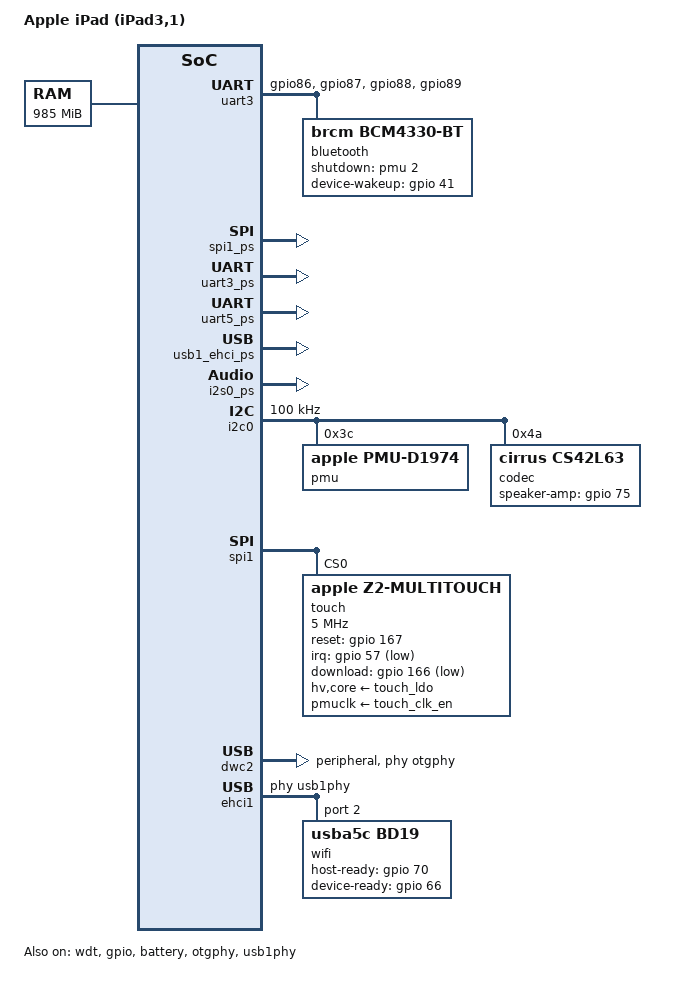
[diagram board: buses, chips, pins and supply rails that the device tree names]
// SPDX-License-Identifier: GPL-2.0 OR MIT
/*
 * Apple iPad (3rd generation) Wi-Fi -- iPad3,1 / J1AP / S5L8945X (Apple A5X).
 *
 * Booted on hardware, RAM only, from a Cascadia-style chain: iBSS and iBEC
 * from the iPad3,1 9.3.5 (13G36) IPSW, a raw-jump loader and Linux 6.12
 * with this repository's drivers.  Addresses come from that IPSW's device
 * tree (src/adt_to_dts.py).  docs/research/j1-a5x.md has the boot chain,
 * what was measured and what is not done.
 *
 * What the A5X shares with the iPad mini's A5, closely enough for the same
 * drivers: arm-io at 0x30000000, AIC at 0x0f200000, UART0 at 0x02500000
 * IRQ 21, DWC2 at usb-complex+0 (0x06100000, IRQ 11, 14 EPs, fifo-depth
 * 0x820), OTG PHY at 0x06000000, PMGR at 0x0f100000, watchdog tick at
 * 0x0f103020 IRQ 4, PL310 at 0x3e000000, GPIO at 0x0fa00000.
 *
 * What it does not: 1 GiB of DRAM; a D1974 PMU in place of the D1946; the
 * pmgr's device-clocks entries are 44 bytes, not 36, so the power-state
 * registers are elsewhere; the panel is eDP behind a highland-park scaler,
 * not MIPI-DSI; Wi-Fi is a BCM4330 on a second USB complex.
 *
 * The 30-pin dock connector carries no UART0; the console is the USB
 * gadget (g_cdc), as on the mini.
 */

/dts-v1/;

/ {
	compatible = "apple,j1ap", "apple,s5l8945x", "apple,s5l8940x", "apple,arm";
	model = "Apple iPad (iPad3,1)";
	#address-cells = <1>;
	#size-cells = <1>;
	interrupt-parent = <&aic>;

	aliases {
		serial0 = &uart0;
		serial3 = &uart3;
	};

	chosen {
		/*
		 * The 30-pin cable does not carry UART0, and earlycon on that
		 * port spins forever if iBoot left the UART clock off, so the
		 * first console is the gadget's ACM port.
		 *
		 * earlycon=j1fb (arch/arm/mach-apple/j1_earlyfb.c) draws the
		 * boot log on iBoot's scanout until fbcon takes over. It is
		 * optional: the J1 used to hang without it, from the missing
		 * tick before the AIC timer (init/main.c, patches/tree/0001).
		 *
		 * console=tty0 also sends the log to fbcon, which takes the
		 * panel over from j1fb when simplefb registers: the penguins and
		 * the log, portrait (fbcon=rotate:1, home button at the bottom;
		 * font:TER16x32 if the kernel has it, else fbcon's default).
		 * ttyGS0 stays last, so it is still /dev/console.
		 *
		 * Both cores start at boot, the mini's way (platsmp.c). lpj is
		 * the 1 GHz A5's; the A5X is 1 GHz too.
		 * rdinit=/init is the initramfs linked into the zImage; an empty
		 * external initrd here would make the kernel look for a second
		 * archive.
		 */
		bootargs = "earlycon=j1fb console=tty0 console=ttyGS0,115200 fbcon=rotate:1,font:TER16x32 lpj=5000000 rdinit=/init panic=10 loglevel=8 ignore_loglevel g_cdc.host_addr=02:10:5a:31:00:01 g_cdc.dev_addr=02:10:5a:31:00:02";
	};

	/*
	 * S5L894x DRAM starts at 0x80000000. iPad3,1 has 1 GiB
	 * (hw.memsize 1034944512, and this iBEC is linked at 0xBFF00000,
	 * 1 MiB under the 0xC0000000 end). The static ADT memory node is
	 * zero. The node ends at 0xbdb00000, where iBoot's scanout starts
	 * (the framebuffer node below): everything from there to the top,
	 * the 12 MiB scanout and iBEC at 0xBFF00000 while it hands off
	 * included, stays out of the kernel's hands.
	 */
	/*
	 * RAM starts 2 MiB in. TEXT_OFFSET is 0x208000 (multi_v7), so the
	 * kernel sits at 0x80208000 and PHYS_OFFSET stays 0x80000000. If the
	 * no-map reset page below were inside this node, it would become
	 * memblock region 0, and prepare_page_table clears every kernel
	 * mapping past the end of region 0, including the running kernel.
	 */
	memory@80200000 {
		device_type = "memory";
		reg = <0x80200000 0x3d900000>;
	};

	/*
	 * iBoot's scanout, as a search of RAM from the loader found it:
	 * base 0xbdb00000, pitch 8192 (2048 x 4), 1536 rows = 12 MiB. It
	 * is iBoot's choice, not the ADT's (whose framebuffer values are
	 * zero), so check it if the boot chain changes. RAM above it stays
	 * out of the memory node so the kernel never hands these pages out.
	 */
	framebuffer@bdb00000 {
		compatible = "simple-framebuffer";
		reg = <0xbdb00000 0xc00000>;
		width = <2048>;
		height = <1536>;
		stride = <8192>;
		format = "x8r8g8b8";
	};

	reserved-memory {
		#address-cells = <1>;
		#size-cells = <1>;
		ranges;

		cpu_reset_page: cpu-reset@80000000 {
			reg = <0x80000000 0x1000>;
			no-map;
		};
	};

	cpus {
		#address-cells = <1>;
		#size-cells = <0>;
		apple,cpu-reset-page = <&cpu_reset_page>;

		/* MPIDR 0x80000900 on CPU0 (the boot log's "mpidr"), so the
		 * cluster id is 9, not the mini's 0xa. With 0xa00 here Linux
		 * found no node for the boot CPU and fell back to one possible
		 * CPU, so CPU1 could not even be onlined. */
		cpu0: cpu@900 {
			device_type = "cpu";
			compatible = "arm,cortex-a9";
			reg = <0x900>;
			enable-method = "apple,pmgr-core";
		};

		cpu1: cpu@901 {
			device_type = "cpu";
			compatible = "arm,cortex-a9";
			reg = <0x901>;
			enable-method = "apple,pmgr-core";
		};
	};

	uart_clk: clock-24000000 {
		compatible = "fixed-clock";
		#clock-cells = <0>;
		clock-frequency = <24000000>;
	};

	soc: soc@30000000 {
		compatible = "simple-bus";
		#address-cells = <1>;
		#size-cells = <1>;
		ranges = <0x0 0x30000000 0x10000000>;

		aic: interrupt-controller@f200000 {
			compatible = "aic,1";
			reg = <0xf200000 0x10000>;
			interrupt-controller;
			#interrupt-cells = <1>;
			#address-cells = <0>;
			apple,main-cpus = <2>;
		};

		uart0: serial@2500000 {
			compatible = "apple,s5l-uart", "samsung,s3c6400-uart";
			reg = <0x2500000 0x1000>;
			interrupts = <21>;
			clocks = <&uart_clk>, <&uart_clk>;
			clock-names = "uart", "clk_uart_baud0";
			status = "disabled";
		};

		/*
		 * UART3: the BCM4330's Bluetooth half (ADT uart3/bluetooth,
		 * "bluetooth,n88", transport-speed 3 Mbaud; the mini's is on
		 * UART1). 24 MHz / 16 makes 1.5 Mbaud the fastest rate here.
		 * From the ADT:
		 *   function-bt_reset  PMU GPIO 2 (0x64 + 2 on the D1974)
		 *   function-bt_wake   SoC GPIO 0x0501 = pin 41
		 * The address is a fixed one in the gadget's family
		 * (02:10:5A:31:00:04, bytes reversed); the patchram's own is a
		 * placeholder.
		 */
		uart3: serial@2800000 {
			compatible = "apple,s5l8940x-uart", "apple,s5l-uart",
				     "samsung,s3c6400-uart";
			reg = <0x2800000 0x1000>;
			interrupts = <24>;
			clocks = <&uart3_ps>, <&uart_clk>;
			clock-names = "uart", "clk_uart_baud0";
			pinctrl-names = "default";
			pinctrl-0 = <&uart3_pins>;
			status = "okay";

			bluetooth {
				compatible = "brcm,bcm4330-bt";
				shutdown-gpios = <&pmu 2 0>;
				device-wakeup-gpios = <&gpio 41 0>;
				max-speed = <1500000>;
				local-bd-address = [04 00 31 5a 10 02];
			};
		};

		wdt: timer@f103020 {
			compatible = "apple,s5l8940x-wdt-timer";
			reg = <0xf103020 0x10>;
			interrupts = <4>;
			clock-frequency = <24000000>;
			status = "okay";
		};

		pmgr: power-management@f100000 {
			compatible = "apple,s5l8940x-pmgr", "syscon";
			reg = <0xf100000 0x7000>;
			status = "disabled";
		};

		/*
		 * ADT /arm-io/gpio is gpio,s5l8945x at
		 * 0xfa00000, irq 119, 28 ports of 8 = 224 pins, the same block
		 * as the mini's.
		 */
		gpio: gpio@fa00000 {
			compatible = "apple,s5l8940x-gpio";
			reg = <0xfa00000 0x1000>;
			interrupts = <119>;
			gpio-controller;
			#gpio-cells = <2>;
			interrupt-controller;
			#interrupt-cells = <2>;
			#address-cells = <0>;
			pin-count = <224>;
			interrupt-groups = <1>;
			status = "okay";

			/* UART3, the Bluetooth chip's: the ADT's uart3 function-tx
			 * and function-rts name 86 and 88, so TX 86, RX 87, RTS 88,
			 * CTS 89 (the mini's UART1 is 40-43 the same way). */
			uart3_pins: uart3-pins {
				pins = "gpio86", "gpio87", "gpio88", "gpio89";
				function = "periph";
			};
		};

		/* SPI1's power-state switch. The pmgr node's device-clocks
		 * entries are 44 bytes on the A5X (36 on the A5); SPI1 (gate
		 * id 68) has power-state index 0x41 at +0x0c, so the register
		 * is PMGR + 0x1000 + 0x41 * 4. The mini's 0x3f1010e8 is another
		 * device here. Measured: 0x200 off, 0x2ff once 0xf is asked. */
		spi1_ps: spi1-ps@f101104 {
			compatible = "apple,s5l8940x-pmgr-clk-gate";
			#clock-cells = <0>;
			reg = <0xf101104 0x4>;
			clocks = <&uart_clk>;
			clock-output-names = "spi1_ps";
		};

		/* UART3's power-state switch (gate 75, index 0x48), for
		 * Bluetooth. */
		uart3_ps: uart3-ps@f101120 {
			compatible = "apple,s5l8940x-pmgr-clk-gate";
			#clock-cells = <0>;
			reg = <0xf101120 0x4>;
			clocks = <&uart_clk>;
			clock-output-names = "uart3_ps";
		};

		/* UART5's power-state switch, for the battery gauge: gate id 77,
		 * power-state index 0x4a. iBoot leaves it off on the J1 (0x200;
		 * the mini's iBoot leaves UART5 running), with ULCON, UCON and
		 * UBRDIV already at the gauge's 8N2 57600. */
		uart5_ps: uart5-ps@f101128 {
			compatible = "apple,s5l8940x-pmgr-clk-gate";
			#clock-cells = <0>;
			reg = <0xf101128 0x4>;
			clocks = <&uart_clk>;
			clock-output-names = "uart5_ps";
		};

		/* The second USB complex's power states (the Wi-Fi's EHCI):
		 * USB1-REG, the PHY's parent, and USB1-EHCI. iBoot leaves both
		 * off (0x200). The PHY driver turns them on in this order. */
		usb1_reg_ps: usb1-reg-ps@f1010b4 {
			compatible = "apple,s5l8940x-pmgr-clk-gate";
			#clock-cells = <0>;
			reg = <0xf1010b4 0x4>;
			clocks = <&uart_clk>;
			clock-output-names = "usb1_reg_ps";
		};

		usb1_ehci_ps: usb1-ehci-ps@f1010a4 {
			compatible = "apple,s5l8940x-pmgr-clk-gate";
			#clock-cells = <0>;
			reg = <0xf1010a4 0x4>;
			clocks = <&uart_clk>;
			clock-output-names = "usb1_ehci_ps";
		};

		/* The audio power states: AUDIO (on as iBoot leaves it) and
		 * its child I2S0 (off, 0x200). The gate driver registers each
		 * clock under its node name, and a child finds its parent by
		 * the parent's clock-output-names: here they must agree, or
		 * I2S0 is an orphan and AUDIO goes off with the unused clocks. */
		audio_ps: audio-ps@f1010b8 {
			compatible = "apple,s5l8940x-pmgr-clk-gate";
			#clock-cells = <0>;
			reg = <0xf1010b8 0x4>;
			clocks = <&uart_clk>;
			clock-output-names = "audio-ps";
		};

		i2s0_ps: i2s0-ps@f1010bc {
			compatible = "apple,s5l8940x-pmgr-clk-gate";
			#clock-cells = <0>;
			reg = <0xf1010bc 0x4>;
			clocks = <&audio_ps>;
			clock-output-names = "i2s0_ps";
		};

		/*
		 * The speaker (sound/soc/apple/s5l-audio.c; docs/research/
		 * j1-a5x.md): I2S0 sends the samples as clock master, 2 x 16
		 * bits; CDMA channel 0x1f, request 1 (the ADT's i2s0
		 * dma-channels) feeds its FIFO at +0x10; NCO 0 (PMGR + 0x130,
		 * 342 MHz reference) is its bit clock; the i2s-switch puts it
		 * and its MCK on pin group 0 (pads 115-118), to the codec.
		 * This node is the codec's MCLK.
		 */
		audio: audio-controller@4190000 {
			compatible = "apple,s5l8945x-audio";
			reg = <0x4190000 0x1000>, <0x41e0000 0x1000>,
			      <0x41a0000 0x1000>, <0xfa01000 0x1000>,
			      <0xf100130 0x60>, <0x7000000 0x2d000>;
			reg-names = "i2s", "mcs", "acs", "switch", "nco", "cdma";
			clocks = <&i2s0_ps>;
			clock-names = "i2s";
			#clock-cells = <0>;
			#sound-dai-cells = <0>;
			apple,dma-channel = <0x1f 0x1>;
			apple,nco-reference-hz = <342000000>;
			apple,audio-codec = <&codec>;
		};

		/* UART5 as the battery gauge's HDQ bus: the ADT's uart5/gas-gauge,
		 * a bq27540 as on the mini. Pin 196 is in peripheral mode as
		 * iBoot leaves it. Read from userspace with UART5 powered: 97%,
		 * 4138 mV, design 11560 mAh. */
		battery: hdq@2a00000 {
			compatible = "apple,s5l8940x-hdq-battery";
			reg = <0x2a00000 0x1000>;
			clocks = <&uart5_ps>;
			status = "okay";
		};

		/* ADT /arm-io/i2c0: i2c,s5l8945x, irq 18, clock-gates 0x50. */
		i2c0: i2c@3200000 {
			compatible = "apple,s5l8940x-i2c";
			reg = <0x3200000 0x1000>;
			clock-frequency = <100000>;
			interrupts = <18>;
			clocks = <&uart_clk>;
			clock-names = "i2c";
			#address-cells = <1>;
			#size-cells = <0>;
			status = "okay";

			/*
			 * ADT pmu,d1974 at 0x3c. It takes an 8-bit register
			 * address like the mini's D1946. apple-pmu-i2c.c knows it
			 * as apple,pmu-d1974 for its GPIOs alone (0x64 + n, the
			 * D1946's are 0x61 + n). No system-power-controller (the
			 * D1946 power-off masks are not checked against this chip).
			 */
			pmu: pmu@3c {
				compatible = "apple,pmu-d1974", "apple,pmu-d1946";
				reg = <0x3c>;
				/* its output GPIOs, 0x64 + n: Bluetooth's reset is 2 */
				gpio-controller;
				#gpio-cells = <2>;
				#address-cells = <1>;
				#size-cells = <0>;

				/* function-power_ldo 0x200: LDO index 0. The
				 * AppleD1974PMU LDO table (0x8118de34) gives enable
				 * register 0x23 bit 0x20; voltage stays iBoot's. */
				touch_ldo: touch_ldo@23 {
					compatible = "apple,pmu-pwrsw";
					reg = <0x23>;
					mask = <0x20>;
					enable = <0x20>;
				};

				/* function-clock_enable: PMU GPIO 0, config register
				 * 0x64. Not a level: with touch running, iOS's
				 * AppleRegisterDump reads 0x51 here (Linux boots with
				 * 0x11), i.e. mode bits 7:5 = 010 -- the PMU's 32 kHz
				 * clock out on the pin. Driving it as a high output
				 * (0x13) let the bootloader run but the firmware never
				 * came up after EXECUTE. */
				touch_clk_en: touch_clk_en@64 {
					compatible = "apple,pmu-pwrsw";
					reg = <0x64>;
					mask = <0x40>;
					enable = <0x40>;
				};

				/* The BCM4330's REG_ON: the ADT's wlan
				 * function-device_reset is PMU GPIO 3, config
				 * register 0x64 + 3. Linux boots with 0x09; bit 1 is
				 * the output level (0x0b with Wi-Fi up). The usb1 PHY
				 * takes it as hsic-supply. */
				wlan_reg_on: wlan_reg_on@67 {
					compatible = "apple,pmu-pwrsw";
					reg = <0x67>;
					mask = <0x02>;
					enable = <0x02>;
				};

				/*
				 * The backlight. The D1974's LED DAC is 11 bits like
				 * the D1946's, but at 0xd3 (bits 10:3) and 0xd4 (bits
				 * 2:0), with the string enable at 0xd5 (0x3f with the
				 * panel lit; iBoot leaves 0xd3 = 0x40, level 512, and booted
				 * from iOS through kloader it is iOS's level, 1669 here) --
				 * AppleD1974PMU's backlight update. 0xd0/0xd1, the
				 * mini's DAC, read 0 here.
				 */
				backlight: wled@d3 {
					compatible = "apple,pmu-wled";
					reg = <0xd3>;
					apple,enable-reg = <0xd5>;
					apple,wled-enables = <0x3f>;
				};
			};

			/*
			 * ADT /arm-io/i2c0/audio0, audio-control,cs42l63: the
			 * codec (ID 42 a6 30, revision b0). Its MCLK (6 MHz) is
			 * I2S0's, offered by the audio node. Line out 2 feeds the
			 * speaker amplifier, whose enable is the ADT's
			 * function-spkr_mute, GPIO 0x903 = 75: the ADT calls it a
			 * mute, but measured, high = amplifier on (a tone plays
			 * only with 75 high). The codec's reset (PMU GPIO 13) is
			 * left as iBoot leaves it, deasserted.
			 */
			codec: audio-codec@4a {
				compatible = "cirrus,cs42l63";
				reg = <0x4a>;
				clocks = <&audio>;
				clock-names = "mclk";
				speaker-amp-gpios = <&gpio 75 0>;
				#sound-dai-cells = <0>;
			};
		};

		/* ADT /arm-io/spi1: spi-1,samsung, irq 29, clock-gates 68. */
		spi1: spi@2100000 {
			compatible = "apple,s5l8940x-spi";
			reg = <0x2100000 0x1000>;
			interrupts = <29>;
			clocks = <&spi1_ps>;
			#address-cells = <1>;
			#size-cells = <0>;
			status = "okay";

			/* ADT multi-touch,j1. GPIOs are (port << 8) | pin:
			 * reset 0x1407 = 167, enable_cs 0x907 = 79, ATTN 57. It
			 * has one LDO, so hv and core are the same switch. The
			 * driver insists on a clock; the 24 MHz reference is a
			 * no-op stand-in (the real 32k clock is the PMU GPIO). */
			touch@0 {
				compatible = "apple,z2-multitouch";
				reg = <0>;
				spi-max-frequency = <5000000>;
				hv-supply = <&touch_ldo>;
				core-supply = <&touch_ldo>;
				pmuclk-supply = <&touch_clk_en>;
				reset-gpios = <&gpio 167 0>;
				cs-gpios = <&gpio 79 0>;
				irq-gpios = <&gpio 57 1>;
				/* function-enable_download 0x1406 = 166, active-low
				 * (measured: driven high the chip never enters HBPP).
				 * The boot tool drives it via HXT_IOC_SET_DL. */
				download-gpios = <&gpio 166 1>;
				clocks = <&uart_clk>;
			};
		};

		/*
		 * Display pipeline, recorded and left off. The mini's node
		 * here is MIPI-DSI. This ADT's panel is eDP (edp@9500000,
		 * max 4 lanes) fed by CLCD, with a highland-park block at
		 * 0xb020000 that the mini does not have. simplefb can reuse
		 * iBoot's scanout once its base is known; it cannot be copied
		 * from the mini's 768x1024 region at 0x9f6fc000.
		 */
		clcd: display-controller@a100000 {
			compatible = "apple,s5l8940x-clcd";
			reg = <0xa100000 0x7000>;
			interrupts = <43 42>;
			status = "disabled";
		};

		otgphy: phy@6000000 {
			compatible = "apple,s5l8940x-otgphy";
			reg = <0x6000000 0x1000>,
			      <0xf108000 0x1000>;
			#phy-cells = <1>;
			status = "okay";
		};

		dwc2: usb@6100000 {
			compatible = "apple,s5l8940x-dwc2", "snps,dwc2";
			reg = <0x6100000 0x10000>;
			interrupts = <11>;
			phys = <&otgphy 0>;
			phy-names = "usb2-phy";
			dr_mode = "peripheral";
			g-rx-fifo-size = <512>;
			g-np-tx-fifo-size = <128>;
			g-tx-fifo-size = <128 128 128 128 128 128 128 128>;
			status = "okay";
		};

		/*
		 * Wi-Fi: the second USB complex. Its PHY (ADT otgphyctrl1)
		 * is left off by iBoot; the PHY driver powers it the way iOS
		 * does (PMGR, USB_CTL at usb1-complex 0x3f109000, the PHY,
		 * then REG_ON; docs/research/j1-a5x.md), and EHCI waits for
		 * it.
		 */
		usb1phy: phy@6800000 {
			compatible = "apple,s5l8945x-usb1-phy";
			reg = <0x6800000 0x1000>,
			      <0xf109000 0x4>;
			clocks = <&usb1_reg_ps>, <&usb1_ehci_ps>;
			hsic-supply = <&wlan_reg_on>;
			#phy-cells = <0>;
			status = "okay";
		};

		/* ADT usb1-complex/usb1-ehci at 0x36c00000, irq 162. The
		 * BCM4330 is on HSIC port 2. */
		ehci1: usb@6c00000 {
			compatible = "apple,s5l8945x-ehci", "generic-ehci";
			reg = <0x6c00000 0x10000>;
			interrupts = <162>;
			phys = <&usb1phy>;
			phy-names = "usb";
			apple,hsic-ports = <0x2>;
			#address-cells = <1>;
			#size-cells = <0>;
			status = "okay";

			/* Out-of-band lines (ADT wlan): HOST_READY 0x806 = 70,
			 * DEVICE_READY 0x802 = 66. The BCM4330 B2's boot ROM
			 * enumerates as 0a5c:bd19 ("s=B2 P=J2 p=3.1"). */
			wifi@2 {
				compatible = "usba5c,bd19";
				reg = <2>;
				apple,host-ready-gpios = <&gpio 70 0>;
				apple,device-ready-gpios = <&gpio 66 0>;
			};
		};
	};
};
